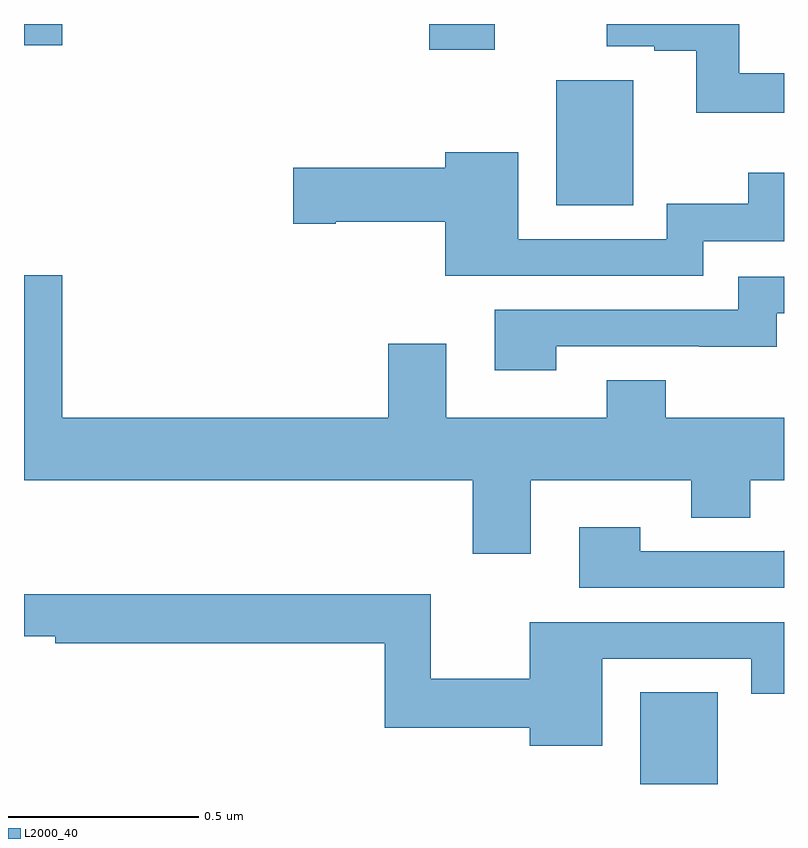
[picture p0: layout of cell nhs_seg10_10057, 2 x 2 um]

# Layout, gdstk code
import gdstk
lib = gdstk.Library(unit=1e-6, precision=1e-09)
def R(c, l, rs):  # rectangles x0, y0, x1, y1
    for r in rs: c.add(gdstk.rectangle(r[:2], r[2:], *l))
def P(c, l, *ps):  # polygons
    for p in ps: c.add(gdstk.Polygon(p, *l))
L2000_40 = (2000, 40)

nhs_seg10_10057 = lib.new_cell('nhs_seg10_10057')
R(nhs_seg10_10057, L2000_40, [(238.622,1315.5,238.825,1315.741), (238.4,1317.023,238.603,1317.352), (238.067,1317.432,238.239,1317.5), (237,1317.444,237.1,1317.5)])
P(nhs_seg10_10057, L2000_40, [(239,1317.37),(238.882,1317.37),(238.882,1317.5),(238.533,1317.5),(238.533,1317.441),(238.659,1317.441),(238.659,1317.429),(238.769,1317.429),(238.769,1317.266),(239,1317.266)],
  [(238.788,1316.928),(239,1316.928),(239,1317.109),(238.906,1317.109),(238.906,1317.027),(238.692,1317.027),(238.692,1316.934),(238.3,1316.934),(238.3,1317.163),(238.109,1317.163),(238.109,1317.122),(237.708,1317.122),(237.708,1316.975),(237.82,1316.975),(237.82,1316.98),(238.109,1316.98),(238.109,1316.838),(238.788,1316.838)],
  [(238.333,1316.3),(238.756,1316.3),(238.756,1316.201),(238.911,1316.201),(238.911,1316.3),(239,1316.3),(239,1316.464),(238.689,1316.464),(238.689,1316.563),(238.534,1316.563),(238.534,1316.464),(238.111,1316.464),(238.111,1316.659),(237.959,1316.659),(237.959,1316.464),(237.1,1316.464),(237.1,1316.839),(237,1316.839),(237,1316.3),(238.181,1316.3),(238.181,1316.106),(238.333,1316.106)],
  [(238.4,1316.652),(238.777,1316.652),(238.777,1316.651),(238.981,1316.651),(238.981,1316.739),(239,1316.739),(239,1316.835),(238.88,1316.835),(238.88,1316.748),(238.239,1316.748),(238.239,1316.589),(238.4,1316.589)],
  [(239,1316.114),(238.999,1316.114),(238.999,1316.112),(238.622,1316.112),(238.622,1316.176),(238.461,1316.176),(238.461,1316.016),(239,1316.016)],
  [(238.522,1315.83),(238.914,1315.83),(238.914,1315.738),(239,1315.738),(239,1315.926),(238.331,1315.926),(238.331,1315.777),(238.07,1315.777),(238.07,1315.999),(237,1315.999),(237,1315.889),(237.082,1315.889),(237.082,1315.87),(237.949,1315.87),(237.949,1315.648),(238.331,1315.648),(238.331,1315.601),(238.522,1315.601)])

lib.write_gds('nhs_seg10_10057.gds')
